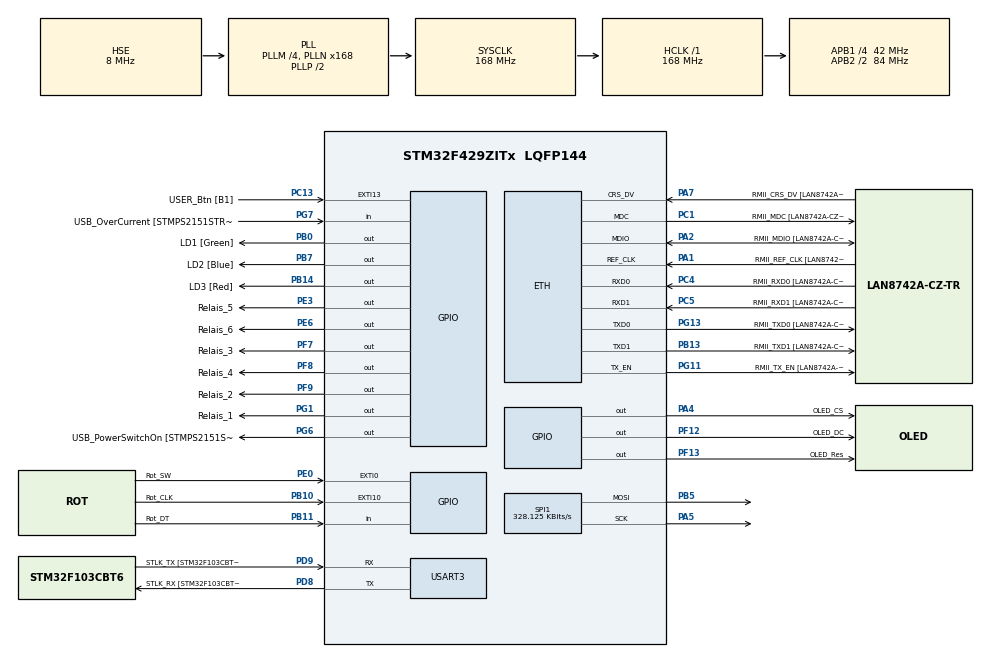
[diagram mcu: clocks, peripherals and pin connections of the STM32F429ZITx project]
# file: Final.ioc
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ETH.MediaInterface=HAL_ETH_RMII_MODE
ETH.PHY_Name=LAN8742A_PHY_ADDRESS
ETH.PHY_Value=0
ETH.PhyAddress=0
FREERTOS.HEAP_NUMBER=3
FREERTOS.Queues01=ROT_Queue,5,uint16_t,0,Dynamic,NULL,NULL
FREERTOS.Tasks01=defaultTask,-2,1024,StartDefaultTask,Default,NULL,Dynamic,NULL,NULL;MqttTask,0,3840,StartMqttTask,Default,NULL,Dynamic,NULL,NULL;OledTask,0,3840,StartOledTask,Default,NULL,Dynamic,NULL,NULL;RotaryTask,0,256,StartRotaryTask,Default,NULL,Dynamic,NULL,NULL
FREERTOS.configCHECK_FOR_STACK_OVERFLOW=2
FREERTOS.configTIMER_TASK_STACK_DEPTH=1024
FREERTOS.configTOTAL_HEAP_SIZE=75000
FREERTOS.configUSE_NEWLIB_REENTRANT=1
FREERTOS.copyHeapFile=1
IWDG.Prescaler=IWDG_PRESCALER_16
IWDG.Reload=1999
LWIP.BSP.number=1
LWIP.CMSIS_VERSION-Enabled=1
LWIP.DEFAULT_THREAD_STACKSIZE=2048
LWIP.GATEWAY_ADDRESS=192.168.000.001
LWIP.IP_ADDRESS=192.168.000.111
LWIP.LWIP_DHCP=0
LWIP.MEMP_MEM_INIT=1
LWIP.MEMP_NUM_API_MSG=25
LWIP.MEMP_NUM_NETCONN=5
LWIP.MEMP_NUM_NETDB=5
LWIP.MEMP_NUM_PBUF=25
LWIP.MEMP_NUM_SYS_TIMEOUT=25
LWIP.MEMP_OVERFLOW_CHECK=2
LWIP.MEM_OVERFLOW_CHECK=1
LWIP.MEM_SIZE=50000
LWIP.NETMASK_ADDRESS=255.255.255.000
LWIP.PBUF_POOL_BUFSIZE=1600
LWIP.SLIPIF_THREAD_STACKSIZE=2048
LWIP.TCPIP_THREAD_STACKSIZE=2048
LWIP.TCP_MSS=1460
LWIP.Version=v2.1.2_Cube
LWIP0.BSP.STBoard=false
LWIP0.BSP.api=BSP_COMPONENT_DRIVER
LWIP0.BSP.component=LAN8742
LWIP0.BSP.instance=LAN8742
LWIP0.BSP.name=Driver_PHY
LWIP0.BSP.semaphore=S_LAN8742
LWIP0.BSP.solution=LAN8742
Mcu.Family=STM32F4
Mcu.Name=STM32F429ZITx
Mcu.Package=LQFP144
NVIC.ETH_IRQn=true\:5\:0\:false\:false\:true\:true\:false\:true\:true
NVIC.EXTI0_IRQn=true\:5\:0\:false\:false\:true\:true\:true\:true\:true
NVIC.EXTI15_10_IRQn=true\:5\:0\:false\:false\:true\:true\:true\:true\:true
NVIC.PriorityGroup=NVIC_PRIORITYGROUP_4
NVIC.TIM1_UP_TIM10_IRQn=true\:15\:0\:false\:false\:true\:false\:false\:true\:true
NVIC.TIM3_IRQn=true\:5\:0\:false\:false\:true\:true\:true\:true\:true
NVIC.TimeBase=TIM1_UP_TIM10_IRQn
NVIC.TimeBaseIP=TIM1
PA1.GPIO_Label=RMII_REF_CLK [LAN8742A-CZ-TR_REFCLK0]
PA1.Mode=RMII
PA1.Signal=ETH_REF_CLK
PA10.GPIO_Label=USB_ID
PA10.Signal=USB_OTG_FS_ID
PA11.GPIO_Label=USB_DM
PA11.Signal=USB_OTG_FS_DM
PA12.GPIO_Label=USB_DP
PA12.Signal=USB_OTG_FS_DP
PA13.GPIO_Label=TMS
PA13.Mode=Serial_Wire
PA13.Signal=SYS_JTMS-SWDIO
PA14.GPIO_Label=TCK
PA14.Mode=Serial_Wire
PA14.Signal=SYS_JTCK-SWCLK
PA2.GPIO_Label=RMII_MDIO [LAN8742A-CZ-TR_MDIO]
PA2.Mode=RMII
PA2.Signal=ETH_MDIO
PA4.GPIO_Label=OLED_CS
PA4.Signal=GPIO_Output
PA5.Mode=TX_Only_Simplex_Unidirect_Master
PA5.Signal=SPI1_SCK
PA7.GPIO_Label=RMII_CRS_DV [LAN8742A-CZ-TR_CRS_DV]
PA7.Mode=RMII
PA7.Signal=ETH_CRS_DV
PA8.GPIO_Label=USB_SOF [TP1]
PA8.Signal=USB_OTG_FS_SOF
PA9.GPIO_Label=USB_VBUS
PA9.Signal=USB_OTG_FS_VBUS
PB0.GPIO_Label=LD1 [Green]
PB0.Signal=GPIO_Output
PB10.GPIO_Label=Rot_CLK
PB10.GPIO_ModeDefaultEXTI=GPIO_MODE_IT_RISING_FALLING
PB10.GPIO_PuPd=GPIO_PULLUP
PB10.Signal=GPXTI10
PB11.GPIO_Label=Rot_DT
PB11.GPIO_PuPd=GPIO_PULLUP
PB11.Signal=GPIO_Input
PB13.GPIO_Label=RMII_TXD1 [LAN8742A-CZ-TR_TXD1]
PB13.Mode=RMII
PB13.Signal=ETH_TXD1
PB14.GPIO_Label=LD3 [Red]
PB14.Signal=GPIO_Output
PB5.Mode=TX_Only_Simplex_Unidirect_Master
PB5.Signal=SPI1_MOSI
PB7.GPIO_Label=LD2 [Blue]
PB7.Signal=GPIO_Output
PC1.GPIO_Label=RMII_MDC [LAN8742A-CZ-TR_MDC]
PC1.Mode=RMII
PC1.Signal=ETH_MDC
PC13.GPIO_Label=USER_Btn [B1]
PC13.Signal=GPXTI13
PC14/OSC32_IN.Mode=LSE-External-Oscillator
PC14/OSC32_IN.Signal=RCC_OSC32_IN
PC15/OSC32_OUT.Mode=LSE-External-Oscillator
PC15/OSC32_OUT.Signal=RCC_OSC32_OUT
PC4.GPIO_Label=RMII_RXD0 [LAN8742A-CZ-TR_RXD0]
PC4.Mode=RMII
PC4.Signal=ETH_RXD0
PC5.GPIO_Label=RMII_RXD1 [LAN8742A-CZ-TR_RXD1]
PC5.Mode=RMII
PC5.Signal=ETH_RXD1
PD8.GPIO_Label=STLK_RX [STM32F103CBT6_PA3]
PD8.Mode=Asynchronous
PD8.Signal=USART3_TX
PD9.GPIO_Label=STLK_TX [STM32F103CBT6_PA2]
PD9.Mode=Asynchronous
PD9.Signal=USART3_RX
PE0.GPIO_Label=Rot_SW
PE0.GPIO_ModeDefaultEXTI=GPIO_MODE_IT_FALLING
PE0.GPIO_PuPd=GPIO_PULLUP
PE0.Signal=GPXTI0
PE3.GPIO_Label=Relais_5
PE3.PinState=GPIO_PIN_SET
PE3.Signal=GPIO_Output
PE6.GPIO_Label=Relais_6
PE6.PinState=GPIO_PIN_SET
PE6.Signal=GPIO_Output
PF12.GPIO_Label=OLED_DC
PF12.Signal=GPIO_Output
PF13.GPIO_Label=OLED_Res
PF13.Signal=GPIO_Output
PF7.GPIO_Label=Relais_3
PF7.PinState=GPIO_PIN_SET
PF7.Signal=GPIO_Output
PF8.GPIO_Label=Relais_4
PF8.PinState=GPIO_PIN_SET
PF8.Signal=GPIO_Output
PF9.GPIO_Label=Relais_2
PF9.PinState=GPIO_PIN_SET
PF9.Signal=GPIO_Output
PG1.GPIO_Label=Relais_1
PG1.PinState=GPIO_PIN_SET
PG1.Signal=GPIO_Output
PG11.GPIO_Label=RMII_TX_EN [LAN8742A-CZ-TR_TXEN]
PG11.Mode=RMII
PG11.Signal=ETH_TX_EN
PG13.GPIO_Label=RMII_TXD0 [LAN8742A-CZ-TR_TXD0]
PG13.Mode=RMII
PG13.Signal=ETH_TXD0
PG6.GPIO_Label=USB_PowerSwitchOn [STMPS2151STR_EN]
PG6.Signal=GPIO_Output
PG7.GPIO_Label=USB_OverCurrent [STMPS2151STR_FAULT]
PG7.Signal=GPIO_Input
PH0/OSC_IN.GPIO_Label=MCO [STM32F103CBT6_PA8]
PH0/OSC_IN.Mode=HSE-External-Clock-Source
PH0/OSC_IN.Signal=RCC_OSC_IN
PH1/OSC_OUT.Mode=HSE-External-Clock-Source
PH1/OSC_OUT.Signal=RCC_OSC_OUT
ProjectManager.HeapSize=0x200
ProjectManager.StackSize=0x400
ProjectManager.TargetToolchain=STM32CubeIDE
RCC.48MHZClocksFreq_Value=48000000
RCC.AHBFreq_Value=168000000
RCC.APB1CLKDivider=RCC_HCLK_DIV4
RCC.APB1Freq_Value=42000000
RCC.APB1TimFreq_Value=84000000
RCC.APB2CLKDivider=RCC_HCLK_DIV2
RCC.APB2Freq_Value=84000000
RCC.APB2TimCLKDivider=2
RCC.APB2TimFreq_Value=168000000
RCC.CortexFreq_Value=168000000
RCC.HCLKFreq_Value=168000000
RCC.HSE_VALUE=8000000
RCC.HSI_VALUE=16000000
RCC.PLLM=4
RCC.PLLMUL=RCC_PLL_MUL9
RCC.PLLN=168
RCC.PLLQ=7
RCC.PLLSourceVirtual=RCC_PLLSOURCE_HSE
RCC.PRESCALERUSB=RCC_USBCLKSOURCE_PLL_DIV1_5
RCC.SYSCLKFreq_VALUE=168000000
RCC.SYSCLKSource=RCC_SYSCLKSOURCE_PLLCLK
RCC.SYSCLKSourceVirtual=RCC_SYSCLKSOURCE_PLLCLK
RCC.USBFreq_Value=48000000
RCC.VCOOutputFreq_Value=336000000
SPI1.BaudRatePrescaler=SPI_BAUDRATEPRESCALER_256
SPI1.CLKPhase=SPI_PHASE_2EDGE
SPI1.CLKPolarity=SPI_POLARITY_HIGH
SPI1.CalculateBaudRate=328.125 KBits/s
SPI1.Direction=SPI_DIRECTION_2LINES
SPI1.Mode=SPI_MODE_MASTER
SPI1.VirtualType=VM_MASTER
TIM3.AutoReloadPreload=TIM_AUTORELOAD_PRELOAD_ENABLE
TIM3.Channel-Output\ Compare1\ No\ Output=TIM_CHANNEL_1
TIM3.OCMode_1=TIM_OCMODE_FORCED_ACTIVE
TIM3.Period=150
TIM3.Prescaler=2000
USART3.VirtualMode=VM_ASYNC
VP_FREERTOS_VS_CMSIS_V1.Mode=CMSIS_V1
VP_IWDG_VS_IWDG.Mode=IWDG_Activate
VP_LWIP_VS_Enabled.Mode=Enabled
VP_SYS_VS_tim1.Mode=TIM1
VP_TIM3_VS_ClockSourceINT.Mode=Internal
VP_TIM3_VS_no_output1.Mode=Output Compare1 No Output
board=NUCLEO-F429ZI

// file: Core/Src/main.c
/* USER CODE BEGIN Header */
/**
  ******************************************************************************
  * @file           : main.c
  * @brief          : Main program body
  ******************************************************************************
  * @attention
  *
  * Copyright (c) 2023 STMicroelectronics.
  * All rights reserved.
  *
  * This software is licensed under terms that can be found in the LICENSE file
  * in the root directory of this software component.
  * If no LICENSE file comes with this software, it is provided AS-IS.
  *
  ******************************************************************************
  */
/* USER CODE END Header */
#include "main.h"
#include "cmsis_os.h"
#include "lwip.h"

/* USER CODE BEGIN Includes */
#include "global_setters_getters.h"
#include "semphr.h"
#include "ssd1306.h"
#include "mqtt.h"
#include "mqtt_global.h"
#include <stdio.h>
#include <string.h>
/* USER CODE END Includes */

/* USER CODE BEGIN PD */
#define MQTTINIT 0
#define MQTTSEND 1
#define WDT
/* USER CODE END PD */

IWDG_HandleTypeDef hiwdg;

SPI_HandleTypeDef hspi1;

TIM_HandleTypeDef htim3;

UART_HandleTypeDef huart3;

osThreadId defaultTaskHandle;
osThreadId MqttTaskHandle;
osThreadId OledTaskHandle;
osThreadId RotaryTaskHandle;
osMessageQId ROT_QueueHandle;
/* USER CODE BEGIN PV */
extern uint8_t ROT_IRQ_Flag;
uint16_t Rot_cnt = 0;

SemaphoreHandle_t Mutex_ETHstate;
SemaphoreHandle_t Mutex_ROTvalue;

extern mqtt_client_t* mqtt_client;
/* USER CODE END PV */

void SystemClock_Config(void);
static void MX_GPIO_Init(void);
static void MX_USART3_UART_Init(void);
static void MX_SPI1_Init(void);
static void MX_TIM3_Init(void);
static void MX_IWDG_Init(void);
void StartDefaultTask(void const * argument);
void StartMqttTask(void const * argument);
void StartOledTask(void const * argument);
void StartRotaryTask(void const * argument);

/* USER CODE BEGIN 0 */
/* USED FOR THE PRINTF FUNCTION */
int _write(int file, char *ptr, int len)
{
  /* Implement your write code here, this is used by puts and printf for example */
  int i=0;
  for(i=0 ; i<len ; i++)
    ITM_SendChar((*ptr++));
  return len;
}
/* USER CODE END 0 */

int main(void)
{

  /* MCU Configuration--------------------------------------------------------*/

  /* Reset of all peripherals, Initializes the Flash interface and the Systick. */
  HAL_Init();

  /* Configure the system clock */
  SystemClock_Config();

  /* Initialize all configured peripherals */
  MX_GPIO_Init();
  MX_USART3_UART_Init();
  MX_SPI1_Init();
  MX_TIM3_Init();

  /* USER CODE BEGIN 2 */
  ssd1306_Init();
  /* USER CODE END 2 */

  /* USER CODE BEGIN RTOS_MUTEX */
  /* add mutexes, ... */

  Mutex_ROTvalue = xSemaphoreCreateMutex();
  Mutex_ETHstate = xSemaphoreCreateMutex();

  /* USER CODE END RTOS_MUTEX */

  /* Create the queue(s) */
  /* definition and creation of ROT_Queue */
  osMessageQDef(ROT_Queue, 2, uint16_t);
  ROT_QueueHandle = osMessageCreate(osMessageQ(ROT_Queue), NULL);

  /* Create the thread(s) */
  /* definition and creation of defaultTask */
  osThreadDef(defaultTask, StartDefaultTask, osPriorityLow, 0, 1024);
  defaultTaskHandle = osThreadCreate(osThread(defaultTask), NULL);

  /* definition and creation of MqttTask */
  osThreadDef(MqttTask, StartMqttTask, osPriorityNormal, 0, 4864);
  MqttTaskHandle = osThreadCreate(osThread(MqttTask), NULL);

  /* definition and creation of OledTask */
  osThreadDef(OledTask, StartOledTask, osPriorityNormal, 0, 3840);
  OledTaskHandle = osThreadCreate(osThread(OledTask), NULL);

  /* definition and creation of RotaryTask */
  osThreadDef(RotaryTask, StartRotaryTask, osPriorityNormal, 0, 256);
  RotaryTaskHandle = osThreadCreate(osThread(RotaryTask), NULL);

  /* Start scheduler */
  osKernelStart();
  /* We should never get here as control is now taken by the scheduler */
  /* Infinite loop */
  while (1)
  {

  }
}

void SystemClock_Config(void)
{
  RCC_OscInitTypeDef RCC_OscInitStruct = {0};
  RCC_ClkInitTypeDef RCC_ClkInitStruct = {0};

  /** Configure the main internal regulator output voltage
  */
  __HAL_RCC_PWR_CLK_ENABLE();
  __HAL_PWR_VOLTAGESCALING_CONFIG(PWR_REGULATOR_VOLTAGE_SCALE1);

  /** Initializes the RCC Oscillators according to the specified parameters
  * in the RCC_OscInitTypeDef structure.
  */
  RCC_OscInitStruct.OscillatorType = RCC_OSCILLATORTYPE_LSI|RCC_OSCILLATORTYPE_HSE;
  RCC_OscInitStruct.HSEState = RCC_HSE_BYPASS;
  RCC_OscInitStruct.LSIState = RCC_LSI_ON;
  RCC_OscInitStruct.PLL.PLLState = RCC_PLL_ON;
  RCC_OscInitStruct.PLL.PLLSource = RCC_PLLSOURCE_HSE;
  RCC_OscInitStruct.PLL.PLLM = 4;
  RCC_OscInitStruct.PLL.PLLN = 168;
  RCC_OscInitStruct.PLL.PLLP = RCC_PLLP_DIV2;
  RCC_OscInitStruct.PLL.PLLQ = 7;
  if (HAL_RCC_OscConfig(&RCC_OscInitStruct) != HAL_OK)
  {
    Error_Handler();
  }

  /** Initializes the CPU, AHB and APB buses clocks
  */
  RCC_ClkInitStruct.ClockType = RCC_CLOCKTYPE_HCLK|RCC_CLOCKTYPE_SYSCLK
                              |RCC_CLOCKTYPE_PCLK1|RCC_CLOCKTYPE_PCLK2;
  RCC_ClkInitStruct.SYSCLKSource = RCC_SYSCLKSOURCE_PLLCLK;
  RCC_ClkInitStruct.AHBCLKDivider = RCC_SYSCLK_DIV1;
  RCC_ClkInitStruct.APB1CLKDivider = RCC_HCLK_DIV4;
  RCC_ClkInitStruct.APB2CLKDivider = RCC_HCLK_DIV2;

  if (HAL_RCC_ClockConfig(&RCC_ClkInitStruct, FLASH_LATENCY_5) != HAL_OK)
  {
    Error_Handler();
  }
}

static void MX_IWDG_Init(void)
{

  hiwdg.Instance = IWDG;
  hiwdg.Init.Prescaler = IWDG_PRESCALER_16;
  hiwdg.Init.Reload = 1999;
  if (HAL_IWDG_Init(&hiwdg) != HAL_OK)
  {
    Error_Handler();
  }

}

static void MX_SPI1_Init(void)
{

  /* SPI1 parameter configuration*/
  hspi1.Instance = SPI1;
  hspi1.Init.Mode = SPI_MODE_MASTER;
  hspi1.Init.Direction = SPI_DIRECTION_2LINES;
  hspi1.Init.DataSize = SPI_DATASIZE_8BIT;
  hspi1.Init.CLKPolarity = SPI_POLARITY_HIGH;
  hspi1.Init.CLKPhase = SPI_PHASE_2EDGE;
  hspi1.Init.NSS = SPI_NSS_SOFT;
  hspi1.Init.BaudRatePrescaler = SPI_BAUDRATEPRESCALER_256;
  hspi1.Init.FirstBit = SPI_FIRSTBIT_MSB;
  hspi1.Init.TIMode = SPI_TIMODE_DISABLE;
  hspi1.Init.CRCCalculation = SPI_CRCCALCULATION_DISABLE;
  hspi1.Init.CRCPolynomial = 10;
  if (HAL_SPI_Init(&hspi1) != HAL_OK)
  {
    Error_Handler();
  }

}

static void MX_TIM3_Init(void)
{

  TIM_ClockConfigTypeDef sClockSourceConfig = {0};
  TIM_MasterConfigTypeDef sMasterConfig = {0};
  TIM_OC_InitTypeDef sConfigOC = {0};

  htim3.Instance = TIM3;
  htim3.Init.Prescaler = 2000;
  htim3.Init.CounterMode = TIM_COUNTERMODE_UP;
  htim3.Init.Period = 130;
  htim3.Init.ClockDivision = TIM_CLOCKDIVISION_DIV1;
  htim3.Init.AutoReloadPreload = TIM_AUTORELOAD_PRELOAD_ENABLE;
  if (HAL_TIM_Base_Init(&htim3) != HAL_OK)
  {
    Error_Handler();
  }
  sClockSourceConfig.ClockSource = TIM_CLOCKSOURCE_INTERNAL;
  if (HAL_TIM_ConfigClockSource(&htim3, &sClockSourceConfig) != HAL_OK)
  {
    Error_Handler();
  }
  if (HAL_TIM_OC_Init(&htim3) != HAL_OK)
  {
    Error_Handler();
  }
  sMasterConfig.MasterOutputTrigger = TIM_TRGO_RESET;
  sMasterConfig.MasterSlaveMode = TIM_MASTERSLAVEMODE_DISABLE;
  if (HAL_TIMEx_MasterConfigSynchronization(&htim3, &sMasterConfig) != HAL_OK)
  {
    Error_Handler();
  }
  sConfigOC.OCMode = TIM_OCMODE_FORCED_ACTIVE;
  sConfigOC.Pulse = 0;
  sConfigOC.OCPolarity = TIM_OCPOLARITY_HIGH;
  sConfigOC.OCFastMode = TIM_OCFAST_DISABLE;
  if (HAL_TIM_OC_ConfigChannel(&htim3, &sConfigOC, TIM_CHANNEL_1) != HAL_OK)
  {
    Error_Handler();
  }

}

static void MX_USART3_UART_Init(void)
{

  huart3.Instance = USART3;
  huart3.Init.BaudRate = 115200;
  huart3.Init.WordLength = UART_WORDLENGTH_8B;
  huart3.Init.StopBits = UART_STOPBITS_1;
  huart3.Init.Parity = UART_PARITY_NONE;
  huart3.Init.Mode = UART_MODE_TX_RX;
  huart3.Init.HwFlowCtl = UART_HWCONTROL_NONE;
  huart3.Init.OverSampling = UART_OVERSAMPLING_16;
  if (HAL_UART_Init(&huart3) != HAL_OK)
  {
    Error_Handler();
  }

}

static void MX_GPIO_Init(void)
{
  GPIO_InitTypeDef GPIO_InitStruct = {0};

  /* GPIO Ports Clock Enable */
  __HAL_RCC_GPIOE_CLK_ENABLE();
  __HAL_RCC_GPIOC_CLK_ENABLE();
  __HAL_RCC_GPIOF_CLK_ENABLE();
  __HAL_RCC_GPIOH_CLK_ENABLE();
  __HAL_RCC_GPIOA_CLK_ENABLE();
  __HAL_RCC_GPIOB_CLK_ENABLE();
  __HAL_RCC_GPIOG_CLK_ENABLE();
  __HAL_RCC_GPIOD_CLK_ENABLE();

  /*Configure GPIO pin Output Level */
  HAL_GPIO_WritePin(GPIOE, Relais_5_Pin|Relais_6_Pin, GPIO_PIN_SET);

  /*Configure GPIO pin Output Level */
  HAL_GPIO_WritePin(GPIOF, Relais_3_Pin|Relais_4_Pin|Relais_2_Pin, GPIO_PIN_SET);

  /*Configure GPIO pin Output Level */
  HAL_GPIO_WritePin(OLED_CS_GPIO_Port, OLED_CS_Pin, GPIO_PIN_RESET);

  /*Configure GPIO pin Output Level */
  HAL_GPIO_WritePin(GPIOB, LD1_Pin|LD3_Pin|LD2_Pin, GPIO_PIN_RESET);

  /*Configure GPIO pin Output Level */
  HAL_GPIO_WritePin(GPIOF, OLED_DC_Pin|OLED_Res_Pin, GPIO_PIN_RESET);

  /*Configure GPIO pin Output Level */
  HAL_GPIO_WritePin(Relais_1_GPIO_Port, Relais_1_Pin, GPIO_PIN_SET);

  /*Configure GPIO pin Output Level */
  HAL_GPIO_WritePin(USB_PowerSwitchOn_GPIO_Port, USB_PowerSwitchOn_Pin, GPIO_PIN_RESET);

  /*Configure GPIO pins : Relais_5_Pin Relais_6_Pin */
  GPIO_InitStruct.Pin = Relais_5_Pin|Relais_6_Pin;
  GPIO_InitStruct.Mode = GPIO_MODE_OUTPUT_PP;
  GPIO_InitStruct.Pull = GPIO_NOPULL;
  GPIO_InitStruct.Speed = GPIO_SPEED_FREQ_LOW;
  HAL_GPIO_Init(GPIOE, &GPIO_InitStruct);

  /*Configure GPIO pin : USER_Btn_Pin */
  GPIO_InitStruct.Pin = USER_Btn_Pin;
  GPIO_InitStruct.Mode = GPIO_MODE_IT_RISING;
  GPIO_InitStruct.Pull = GPIO_NOPULL;
  HAL_GPIO_Init(USER_Btn_GPIO_Port, &GPIO_InitStruct);

  /*Configure GPIO pins : Relais_3_Pin Relais_4_Pin Relais_2_Pin OLED_DC_Pin
                           OLED_Res_Pin */
  GPIO_InitStruct.Pin = Relais_3_Pin|Relais_4_Pin|Relais_2_Pin|OLED_DC_Pin
                          |OLED_Res_Pin;
  GPIO_InitStruct.Mode = GPIO_MODE_OUTPUT_PP;
  GPIO_InitStruct.Pull = GPIO_NOPULL;
  GPIO_InitStruct.Speed = GPIO_SPEED_FREQ_LOW;
  HAL_GPIO_Init(GPIOF, &GPIO_InitStruct);

  /*Configure GPIO pin : OLED_CS_Pin */
  GPIO_InitStruct.Pin = OLED_CS_Pin;
  GPIO_InitStruct.Mode = GPIO_MODE_OUTPUT_PP;
  GPIO_InitStruct.Pull = GPIO_NOPULL;
  GPIO_InitStruct.Speed = GPIO_SPEED_FREQ_LOW;
  HAL_GPIO_Init(OLED_CS_GPIO_Port, &GPIO_InitStruct);

  /*Configure GPIO pins : LD1_Pin LD3_Pin LD2_Pin */
  GPIO_InitStruct.Pin = LD1_Pin|LD3_Pin|LD2_Pin;
  GPIO_InitStruct.Mode = GPIO_MODE_OUTPUT_PP;
  GPIO_InitStruct.Pull = GPIO_NOPULL;
  GPIO_InitStruct.Speed = GPIO_SPEED_FREQ_LOW;
  HAL_GPIO_Init(GPIOB, &GPIO_InitStruct);

  /*Configure GPIO pins : Relais_1_Pin USB_PowerSwitchOn_Pin */
  GPIO_InitStruct.Pin = Relais_1_Pin|USB_PowerSwitchOn_Pin;
  GPIO_InitStruct.Mode = GPIO_MODE_OUTPUT_PP;
  GPIO_InitStruct.Pull = GPIO_NOPULL;
  GPIO_InitStruct.Speed = GPIO_SPEED_FREQ_LOW;
  HAL_GPIO_Init(GPIOG, &GPIO_InitStruct);

  /*Configure GPIO pin : Rot_CLK_Pin */
  GPIO_InitStruct.Pin = Rot_CLK_Pin;
  GPIO_InitStruct.Mode = GPIO_MODE_IT_RISING_FALLING;
  GPIO_InitStruct.Pull = GPIO_PULLUP;
  HAL_GPIO_Init(Rot_CLK_GPIO_Port, &GPIO_InitStruct);

  /*Configure GPIO pin : Rot_DT_Pin */
  GPIO_InitStruct.Pin = Rot_DT_Pin;
  GPIO_InitStruct.Mode = GPIO_MODE_INPUT;
  GPIO_InitStruct.Pull = GPIO_PULLUP;
  HAL_GPIO_Init(Rot_DT_GPIO_Port, &GPIO_InitStruct);

  /*Configure GPIO pin : USB_OverCurrent_Pin */
  GPIO_InitStruct.Pin = USB_OverCurrent_Pin;
  GPIO_InitStruct.Mode = GPIO_MODE_INPUT;
  GPIO_InitStruct.Pull = GPIO_NOPULL;
  HAL_GPIO_Init(USB_OverCurrent_GPIO_Port, &GPIO_InitStruct);

  /*Configure GPIO pins : USB_SOF_Pin USB_ID_Pin USB_DM_Pin USB_DP_Pin */
  GPIO_InitStruct.Pin = USB_SOF_Pin|USB_ID_Pin|USB_DM_Pin|USB_DP_Pin;
  GPIO_InitStruct.Mode = GPIO_MODE_AF_PP;
  GPIO_InitStruct.Pull = GPIO_NOPULL;
  GPIO_InitStruct.Speed = GPIO_SPEED_FREQ_VERY_HIGH;
  GPIO_InitStruct.Alternate = GPIO_AF10_OTG_FS;
  HAL_GPIO_Init(GPIOA, &GPIO_InitStruct);

  /*Configure GPIO pin : USB_VBUS_Pin */
  GPIO_InitStruct.Pin = USB_VBUS_Pin;
  GPIO_InitStruct.Mode = GPIO_MODE_INPUT;
  GPIO_InitStruct.Pull = GPIO_NOPULL;
  HAL_GPIO_Init(USB_VBUS_GPIO_Port, &GPIO_InitStruct);

  /*Configure GPIO pin : Rot_SW_Pin */
  GPIO_InitStruct.Pin = Rot_SW_Pin;
  GPIO_InitStruct.Mode = GPIO_MODE_IT_FALLING;
  GPIO_InitStruct.Pull = GPIO_PULLUP;
  HAL_GPIO_Init(Rot_SW_GPIO_Port, &GPIO_InitStruct);

  /* EXTI interrupt init*/
  HAL_NVIC_SetPriority(EXTI0_IRQn, 5, 0);
  HAL_NVIC_EnableIRQ(EXTI0_IRQn);

  HAL_NVIC_SetPriority(EXTI15_10_IRQn, 5, 0);
  HAL_NVIC_EnableIRQ(EXTI15_10_IRQn);

}

void StartDefaultTask(void const * argument)
{
  /* init code for LWIP */
  MX_LWIP_Init();
  /* USER CODE BEGIN 5 */
#ifdef WDT
  MX_IWDG_Init();
#endif
  uint8_t txt[] = "Task1\n";

/* Infinite loop */
for(;;)
{

    HAL_UART_Transmit(&huart3, txt, sizeof(txt), 100);
	  osDelay(150);
}
  /* USER CODE END 5 */
}

void StartMqttTask(void const * argument)
{
  /* USER CODE BEGIN StartMqttTask */
	int state = 0;
	const char topic[] = "RotaryIndex";
	uint16_t RotaryValue;
	char RotaryValueStr[6];
	uint16_t PreviousValue = 0;
	uint16_t CurrentValue = 0;
  /* Infinite loop */
  for(;;)
  {

#ifdef WDT
	  HAL_IWDG_Refresh(&hiwdg);
#endif
	  if(GetETHstate())
	  {
		  switch(state)
		  {
		  case MQTTINIT:
			  /* MQTT initialization must done here */
			  printf("State: %d \n", state);
			  mqtt_client = mqtt_client_new();
			  mqtt_init(mqtt_client);
			  state = MQTTSEND;
			  break;

		  case MQTTSEND:
			  /* State sending data to the broker */
			  printf("State: %d \n", state);
			  if (Check_client_connected())
			  {
				  CurrentValue = GetROTvalue();
				  if (PreviousValue != CurrentValue)
				  {
					  sprintf(RotaryValueStr, "%d", CurrentValue);
					  strcat(RotaryValueStr, "\n");
					  publish_message(mqtt_client, RotaryValueStr, topic, NULL);
					  PreviousValue = CurrentValue;
				  }
			  }
			  else
			  {
				  /* if client is not connected, reset */
				  while(1)
				  {
					  HAL_NVIC_SystemReset();
				  }
			  }
			  break;

		  default:
			  break;
		  }
	  }
    osDelay(100);
  }
  /* USER CODE END StartMqttTask */
}

void StartOledTask(void const * argument)
{
  /* USER CODE BEGIN StartOledTask */

  char txt1[] = "STM32";
  char txt2[] = "Rotary Index:";
  char index[5];
  uint16_t PreviousValue;
  uint16_t CurrentValue;
  uint8_t i;
  ssd1306_SetCursor(0, 0);
  ssd1306_WriteString(txt1, Font_11x18, White);
  ssd1306_Line(0, 18, 90, 18, White);
  ssd1306_Line(0, 19, 90, 19, White);
  ssd1306_SetCursor(0, 25);
  ssd1306_WriteString(txt2, Font_7x10, White);
  ssd1306_UpdateScreen();
  /* Infinite loop */
  for(;;)
  {
	  CurrentValue = GetROTvalue();
	if (PreviousValue != CurrentValue)
	{
		if (CurrentValue == 0)
		{
			for(i = 0; i < 4; i++)
			{
				index[i] = '\0';
			}
		}
		sprintf(index, "%d", CurrentValue);
		ssd1306_SetCursor(50, 45);
		ssd1306_WriteString("              ", Font_7x10, White);
		ssd1306_SetCursor(50, 45);
		ssd1306_WriteString(index, Font_7x10, White);
		ssd1306_UpdateScreen();
		HAL_UART_Transmit(&huart3, index, sizeof(index), 250);
		PreviousValue = CurrentValue;
	}
    osDelay(100);
  }
  /* USER CODE END StartOledTask */
}

void StartRotaryTask(void const * argument)
{
  /* USER CODE BEGIN StartRotaryTask */
	  osEvent  evt;

  /* Infinite loop */
  for(;;)
  {
	  evt = osMessageGet(ROT_QueueHandle, 0);
	  if (evt.status == osEventMessage)
	  {
		  SetROTvalue(evt.value.p);
	  }

    if (evt.value.p >= 100)
    {

    	HAL_GPIO_WritePin(Relais_5_GPIO_Port, Relais_5_Pin, GPIO_PIN_RESET);

    }
    else
    {

    		HAL_GPIO_WritePin(Relais_5_GPIO_Port, Relais_5_Pin, GPIO_PIN_SET);

    }
    if (evt.value.p >= 500)
    {
    	HAL_GPIO_WritePin(Relais_6_GPIO_Port, Relais_6_Pin, GPIO_PIN_RESET);
    }
    else
    {
    	HAL_GPIO_WritePin(Relais_6_GPIO_Port, Relais_6_Pin, GPIO_PIN_SET);
    }
    HAL_UART_Transmit(&huart3, "Task Rotary\n", sizeof("Task Rotary\n"), 250);
    osDelay(100);
  }
  /* USER CODE END StartRotaryTask */
}

void HAL_TIM_PeriodElapsedCallback(TIM_HandleTypeDef *htim)
{
  if (htim->Instance == TIM1) {
    HAL_IncTick();
  }
}

void Error_Handler(void)
{
  /* USER CODE BEGIN Error_Handler_Debug */
  /* User can add his own implementation to report the HAL error return state */
  __disable_irq();
  NVIC_SystemReset();
  while (1)
  {

  }
  /* USER CODE END Error_Handler_Debug */
}

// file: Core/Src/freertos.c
/* USER CODE BEGIN Header */
/**
  ******************************************************************************
  * File Name          : freertos.c
  * Description        : Code for freertos applications
  ******************************************************************************
  * @attention
  *
  * Copyright (c) 2023 STMicroelectronics.
  * All rights reserved.
  *
  * This software is licensed under terms that can be found in the LICENSE file
  * in the root directory of this software component.
  * If no LICENSE file comes with this software, it is provided AS-IS.
  *
  ******************************************************************************
  */
/* USER CODE END Header */

#include "FreeRTOS.h"
#include "task.h"
#include "main.h"

/* GetIdleTaskMemory prototype (linked to static allocation support) */
void vApplicationGetIdleTaskMemory( StaticTask_t **ppxIdleTaskTCBBuffer, StackType_t **ppxIdleTaskStackBuffer, uint32_t *pulIdleTaskStackSize );

/* Hook prototypes */
void vApplicationStackOverflowHook(xTaskHandle xTask, signed char *pcTaskName);

/* USER CODE BEGIN 4 */
void vApplicationStackOverflowHook(xTaskHandle xTask, signed char *pcTaskName)
{
   /* Run time stack overflow checking is performed if
   configCHECK_FOR_STACK_OVERFLOW is defined to 1 or 2. This hook function is
   called if a stack overflow is detected. */
}
/* USER CODE END 4 */

/* USER CODE BEGIN GET_IDLE_TASK_MEMORY */
static StaticTask_t xIdleTaskTCBBuffer;
static StackType_t xIdleStack[configMINIMAL_STACK_SIZE];

void vApplicationGetIdleTaskMemory( StaticTask_t **ppxIdleTaskTCBBuffer, StackType_t **ppxIdleTaskStackBuffer, uint32_t *pulIdleTaskStackSize )
{
  *ppxIdleTaskTCBBuffer = &xIdleTaskTCBBuffer;
  *ppxIdleTaskStackBuffer = &xIdleStack[0];
  *pulIdleTaskStackSize = configMINIMAL_STACK_SIZE;
  /* place for user code */
}
/* USER CODE END GET_IDLE_TASK_MEMORY */
